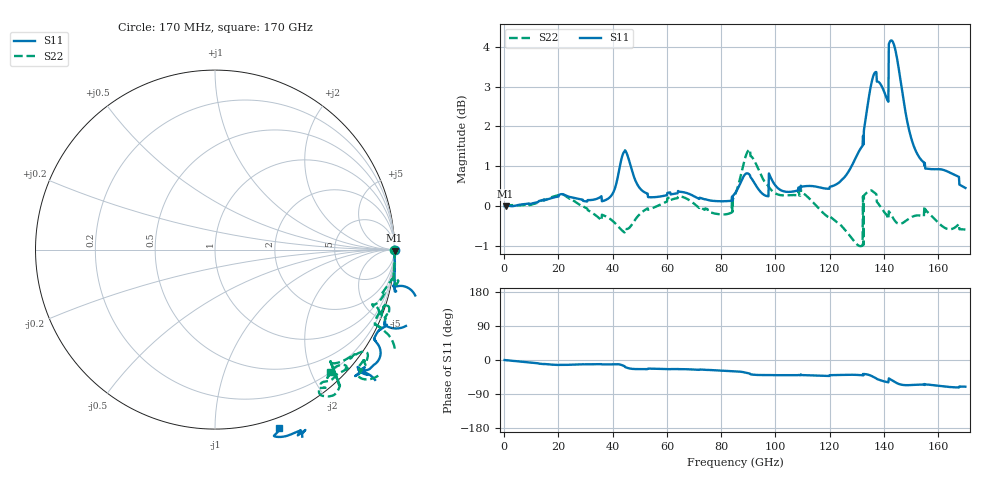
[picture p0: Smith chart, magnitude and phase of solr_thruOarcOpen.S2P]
# GHz S RI R 50
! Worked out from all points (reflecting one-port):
!   1000 points, 170 MHz to 170 GHz, reference 50 ohm
!   lowest |S11| = 0.0 dB at 510 MHz (marker M1)
!   phase of S11 starts at -0 deg and turns -70 deg over the sweep
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0.17  1 -0.00195  0 0  0 0  1 -0.00176
0.51  1 -0.00601  0 0  0 0  1.001 -0.00604
13.94  1.001 -0.1833  0 0  0 0  1 -0.1834
28.56  0.9997 -0.2017  0 0  0 0  0.9869 -0.1644
43.86  1.126 -0.2965  0 0  0 0  0.8783 -0.3061
46.75  1.03 -0.4376  0 0  0 0  0.8917 -0.3136
56.78  0.9436 -0.4074  0 0  0 0  0.9297 -0.3736
72.93  0.9244 -0.4377  0 0  0 0  0.9437 -0.3127
85.17  0.9006 -0.5183  0 0  0 0  0.9345 -0.4457
89.42  0.9111 -0.6161  0 0  0 0  1.001 -0.5959
93.33  0.8144 -0.6709  0 0  0 0  0.8561 -0.7228
113.39  0.8046 -0.6904  0 0  0 0  0.8408 -0.5695
131.24  0.9057 -0.7552  0 0  0 0  0.6378 -0.6228
132.6  0.996 -0.748  0 0  0 0  0.6943 -0.7635
135.66  1.054 -0.9821  0 0  0 0  0.6583 -0.8124
140.76  0.735 -1.158  0 0  0 0  0.5795 -0.7867
141.78  1.056 -1.198  0 0  0 0  0.6158 -0.7699
142.63  0.9845 -1.278  0 0  0 0  0.6007 -0.7687
144.5  0.7689 -1.348  0 0  0 0  0.5883 -0.7522
148.75  0.5074 -1.162  0 0  0 0  0.6235 -0.7338
155.72  0.4774 -1.008  0 0  0 0  0.7342 -0.6584
170  0.3539 -0.9933  0 0  0 0  0.6397 -0.6822
